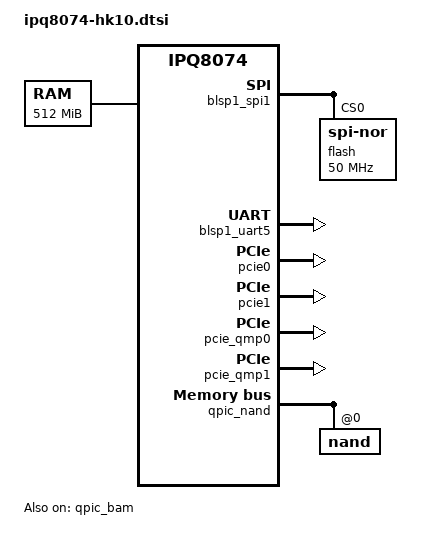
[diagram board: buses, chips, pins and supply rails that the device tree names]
// SPDX-License-Identifier: GPL-2.0-only
/*
 * Copyright (c) 2020, The Linux Foundation. All rights reserved.
 */
/dts-v1/;

#include "ipq8074.dtsi"
#include <dt-bindings/gpio/gpio.h>

/ {
	aliases {
		serial0 = &blsp1_uart5;
	};

	chosen {
		stdout-path = "serial0";
	};

	memory {
		device_type = "memory";
		reg = <0x0 0x40000000 0x0 0x20000000>;
	};
};

&blsp1_spi1 {
	status = "okay";

	flash@0 {
		#address-cells = <1>;
		#size-cells = <1>;
		compatible = "jedec,spi-nor";
		reg = <0>;
		spi-max-frequency = <50000000>;
	};
};

&blsp1_uart5 {
	status = "okay";
};

&pcie0 {
	status = "okay";
	perst-gpios = <&tlmm 58 GPIO_ACTIVE_LOW>;
};

&pcie1 {
	status = "okay";
	perst-gpios = <&tlmm 61 GPIO_ACTIVE_LOW>;
};

&pcie_qmp0 {
	status = "okay";
};

&pcie_qmp1 {
	status = "okay";
};

&qpic_bam {
	status = "okay";
};

&qpic_nand {
	status = "okay";

	nand@0 {
		reg = <0>;
		nand-ecc-strength = <4>;
		nand-ecc-step-size = <512>;
		nand-bus-width = <8>;
	};
};
